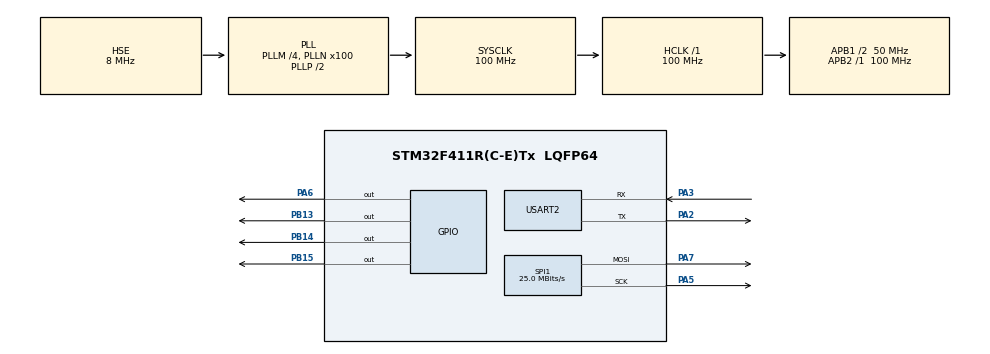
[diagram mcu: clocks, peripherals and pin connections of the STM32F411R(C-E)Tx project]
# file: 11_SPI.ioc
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Mcu.Family=STM32F4
Mcu.Name=STM32F411R(C-E)Tx
Mcu.Package=LQFP64
NVIC.PriorityGroup=NVIC_PRIORITYGROUP_4
NVIC.USART2_IRQn=true\:0\:0\:false\:false\:true\:true\:true\:true
PA13.Mode=Serial_Wire
PA13.Signal=SYS_JTMS-SWDIO
PA14.Mode=Serial_Wire
PA14.Signal=SYS_JTCK-SWCLK
PA2.Mode=Asynchronous
PA2.Signal=USART2_TX
PA3.Mode=Asynchronous
PA3.Signal=USART2_RX
PA5.Mode=TX_Only_Simplex_Unidirect_Master
PA5.Signal=SPI1_SCK
PA6.GPIO_Speed=GPIO_SPEED_FREQ_HIGH
PA6.Signal=GPIO_Output
PA7.Mode=TX_Only_Simplex_Unidirect_Master
PA7.Signal=SPI1_MOSI
PB13.GPIO_Speed=GPIO_SPEED_FREQ_HIGH
PB13.Signal=GPIO_Output
PB14.GPIO_Speed=GPIO_SPEED_FREQ_HIGH
PB14.Signal=GPIO_Output
PB15.GPIO_Speed=GPIO_SPEED_FREQ_HIGH
PB15.Signal=GPIO_Output
PH0\ -\ OSC_IN.Mode=HSE-External-Oscillator
PH0\ -\ OSC_IN.Signal=RCC_OSC_IN
PH1\ -\ OSC_OUT.Mode=HSE-External-Oscillator
PH1\ -\ OSC_OUT.Signal=RCC_OSC_OUT
ProjectManager.HeapSize=0x200
ProjectManager.StackSize=0x400
ProjectManager.TargetToolchain=STM32CubeIDE
RCC.48MHZClocksFreq_Value=50000000
RCC.AHBFreq_Value=100000000
RCC.APB1CLKDivider=RCC_HCLK_DIV2
RCC.APB1Freq_Value=50000000
RCC.APB1TimFreq_Value=100000000
RCC.APB2Freq_Value=100000000
RCC.APB2TimFreq_Value=100000000
RCC.CortexFreq_Value=100000000
RCC.HCLKFreq_Value=100000000
RCC.HSE_VALUE=8000000
RCC.HSI_VALUE=16000000
RCC.LSE_VALUE=32768
RCC.PLLM=4
RCC.PLLN=100
RCC.PLLSourceVirtual=RCC_PLLSOURCE_HSE
RCC.SYSCLKFreq_VALUE=100000000
RCC.SYSCLKSource=RCC_SYSCLKSOURCE_PLLCLK
RCC.VCOOutputFreq_Value=200000000
SPI1.BaudRatePrescaler=SPI_BAUDRATEPRESCALER_4
SPI1.CalculateBaudRate=25.0 MBits/s
SPI1.Direction=SPI_DIRECTION_2LINES
SPI1.Mode=SPI_MODE_MASTER
SPI1.VirtualType=VM_MASTER
TIM11.Prescaler=100-1
USART2.VirtualMode=VM_ASYNC
VP_TIM11_VS_ClockSourceINT.Mode=Enable_Timer
board=custom

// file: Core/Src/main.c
/* USER CODE BEGIN Header */
/**
  ******************************************************************************
  * @file           : main.c
  * @brief          : Main program body
  ******************************************************************************
  * @attention
  *
  * Copyright (c) 2025 STMicroelectronics.
  * All rights reserved.
  *
  * This software is licensed under terms that can be found in the LICENSE file
  * in the root directory of this software component.
  * If no LICENSE file comes with this software, it is provided AS-IS.
  *
  ******************************************************************************
  */
/* USER CODE END Header */
#include "main.h"
#include "spi.h"
#include "tim.h"
#include "usart.h"
#include "gpio.h"

/* USER CODE BEGIN Includes */
#include "delay_us.h"
/* USER CODE END Includes */

/* USER CODE BEGIN PD */
#define RCLK_HIGH()		HAL_GPIO_WritePin(GPIOA, GPIO_PIN_6, GPIO_PIN_SET)
#define RCLK_LOW()		HAL_GPIO_WritePin(GPIOA, GPIO_PIN_6, GPIO_PIN_RESET)

#define SER_PORT			GPIOB
#define SER_PIN			GPIO_PIN_13		// PA7
#define RCLK_PORT			GPIOB
#define RCLK_PIN			GPIO_PIN_14		// PA6
#define SRCLK_PORT		GPIOB
#define SRCLK_PIN			GPIO_PIN_15		// PA5
/* USER CODE END PD */

/* USER CODE BEGIN PV */
uint8_t LED_Bar[] = {
		0b00000001,
		0b00000010,
		0b00000100,
		0b00001000,
		0b00010000,
		0b00100000,
		0b01000000,
		0b10000000
};
/* USER CODE END PV */

void SystemClock_Config(void);
/* USER CODE BEGIN PFP */
// SPI 통신 이용 Shift Register 전달
void LED_OUT(uint8_t data) {
	// Serial Data Out, SRCLK
	HAL_SPI_Transmit(&hspi1, &data, 1, HAL_MAX_DELAY);

	// 저장 Clock
	RCLK_HIGH();
	HAL_Delay(1);
	RCLK_LOW();
}

// 일반 GPIO 이용 Shift Register 전달
void dataOut(uint8_t data) {
	for (int8_t i = 7; i  >= 0 ; i--) {		// MSB → LSB
		if (data & (1 << i)) {
			HAL_GPIO_WritePin(SER_PORT, SER_PIN, GPIO_PIN_SET);
		}
		else {
			HAL_GPIO_WritePin(SER_PORT, SER_PIN, GPIO_PIN_RESET);
		}

		// Shift Clock 생성
		HAL_GPIO_WritePin(SRCLK_PORT, SRCLK_PIN, GPIO_PIN_SET);
		delay_us(5);
		HAL_GPIO_WritePin(SRCLK_PORT, SRCLK_PIN, GPIO_PIN_RESET);
		delay_us(5);
	}

	// 저장 Clock
	HAL_GPIO_WritePin(RCLK_PORT, RCLK_PIN, GPIO_PIN_SET);
	delay_us(10);
	HAL_GPIO_WritePin(RCLK_PORT, RCLK_PIN, GPIO_PIN_RESET);
}
/* USER CODE END PFP */

int main(void)
{

  /* MCU Configuration--------------------------------------------------------*/

  /* Reset of all peripherals, Initializes the Flash interface and the Systick. */
  HAL_Init();

  /* Configure the system clock */
  SystemClock_Config();

  /* Initialize all configured peripherals */
  MX_GPIO_Init();
  MX_USART2_UART_Init();
  MX_SPI1_Init();
  MX_TIM11_Init();
  /* USER CODE BEGIN 2 */
  HAL_TIM_Base_Start(&htim11);			// delay_us
  /* USER CODE END 2 */

  /* Infinite loop */
  /* USER CODE BEGIN WHILE */
  while (1)
  {
	  dataOut(0x0f);
	  HAL_Delay(500);
	  dataOut(0xf0);
	  HAL_Delay(500);

	  // GPIO 방식
//	  for (uint8_t i = 0; i < 8; i++) {
//		  dataOut(LED_Bar[i]);
//		  HAL_Delay(500);
//	  }

	  // SPI 통신 방식
//	  for (uint8_t i = 0; i < 8; i++) {
//		  LED_OUT(LED_Bar[i]);
//		  HAL_Delay(300);
//	  }
    /* USER CODE END WHILE */

  }
}

void SystemClock_Config(void)
{
  RCC_OscInitTypeDef RCC_OscInitStruct = {0};
  RCC_ClkInitTypeDef RCC_ClkInitStruct = {0};

  /** Configure the main internal regulator output voltage
  */
  __HAL_RCC_PWR_CLK_ENABLE();
  __HAL_PWR_VOLTAGESCALING_CONFIG(PWR_REGULATOR_VOLTAGE_SCALE1);

  /** Initializes the RCC Oscillators according to the specified parameters
  * in the RCC_OscInitTypeDef structure.
  */
  RCC_OscInitStruct.OscillatorType = RCC_OSCILLATORTYPE_HSE;
  RCC_OscInitStruct.HSEState = RCC_HSE_ON;
  RCC_OscInitStruct.PLL.PLLState = RCC_PLL_ON;
  RCC_OscInitStruct.PLL.PLLSource = RCC_PLLSOURCE_HSE;
  RCC_OscInitStruct.PLL.PLLM = 4;
  RCC_OscInitStruct.PLL.PLLN = 100;
  RCC_OscInitStruct.PLL.PLLP = RCC_PLLP_DIV2;
  RCC_OscInitStruct.PLL.PLLQ = 4;
  if (HAL_RCC_OscConfig(&RCC_OscInitStruct) != HAL_OK)
  {
    Error_Handler();
  }

  /** Initializes the CPU, AHB and APB buses clocks
  */
  RCC_ClkInitStruct.ClockType = RCC_CLOCKTYPE_HCLK|RCC_CLOCKTYPE_SYSCLK
                              |RCC_CLOCKTYPE_PCLK1|RCC_CLOCKTYPE_PCLK2;
  RCC_ClkInitStruct.SYSCLKSource = RCC_SYSCLKSOURCE_PLLCLK;
  RCC_ClkInitStruct.AHBCLKDivider = RCC_SYSCLK_DIV1;
  RCC_ClkInitStruct.APB1CLKDivider = RCC_HCLK_DIV2;
  RCC_ClkInitStruct.APB2CLKDivider = RCC_HCLK_DIV1;

  if (HAL_RCC_ClockConfig(&RCC_ClkInitStruct, FLASH_LATENCY_3) != HAL_OK)
  {
    Error_Handler();
  }
}

void Error_Handler(void)
{
  __disable_irq();
  while (1)
  {
  }
}
